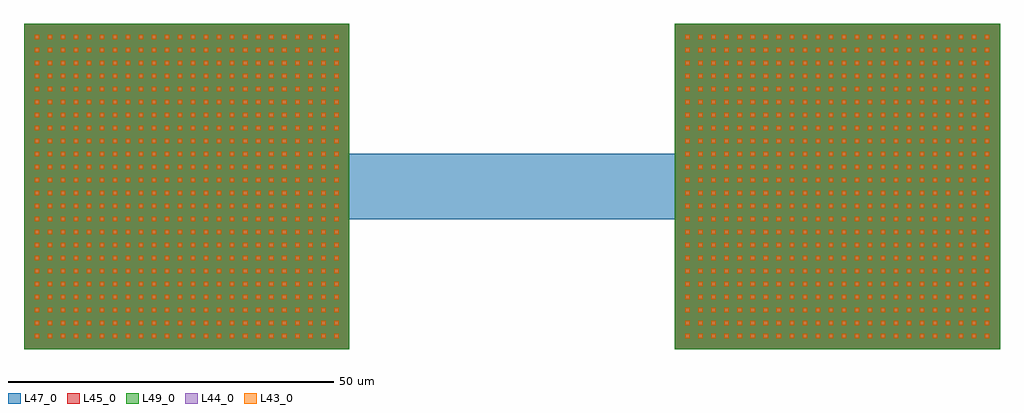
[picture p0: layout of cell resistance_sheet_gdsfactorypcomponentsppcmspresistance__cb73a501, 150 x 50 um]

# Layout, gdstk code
import gdstk
lib = gdstk.Library(unit=1e-6, precision=1e-09)
def R(c, l, rs):  # rectangles x0, y0, x1, y1
    for r in rs: c.add(gdstk.rectangle(r[:2], r[2:], *l))
L43_0 = (43, 0)
L44_0 = (44, 0)
L45_0 = (45, 0)
L47_0 = (47, 0)
L49_0 = (49, 0)

compass_gdsfactorypcompo = lib.new_cell('compass_gdsfactorypcomponentspshapespcompass_S50_50_LHE_0d3d3f5d')
R(compass_gdsfactorypcompo, L47_0, [(-25,-25,25,25)])

c_compass_gdsfactorypcompo = lib.new_cell('compass_gdsfactorypcomponentspshapespcompass_S50_50_LM2_1a56224f')
R(c_compass_gdsfactorypcompo, L45_0, [(-25,-25,25,25)])

c_compass_gdsfactorypcompo_ = lib.new_cell('compass_gdsfactorypcomponentspshapespcompass_S50_50_LM3_7e9c54cf')
R(c_compass_gdsfactorypcompo_, L49_0, [(-25,-25,25,25)])

via_gdsfactorypcomponent = lib.new_cell('via_gdsfactorypcomponentspviaspvia_S0p7_0p7_E1_LVIA1_BL_0068d91e')
R(via_gdsfactorypcomponent, L44_0, [(-0.35,-0.35,0.35,0.35)])

c_via_gdsfactorypcomponent = lib.new_cell('via_gdsfactorypcomponentspviaspvia_S0p7_0p7_E1_LVIA2_BL_c51b5ebb')
R(c_via_gdsfactorypcomponent, L43_0, [(-0.35,-0.35,0.35,0.35)])

via_stack_gdsfactorypcom = lib.new_cell('via_stack_gdsfactorypcomponentspviaspvia_stack_S50_50_L_9a4138d6')
via_stack_gdsfactorypcom.add(gdstk.Reference(compass_gdsfactorypcompo, (0,0)))
via_stack_gdsfactorypcom.add(gdstk.Reference(c_compass_gdsfactorypcompo, (0,0)))
via_stack_gdsfactorypcom.add(gdstk.Reference(c_compass_gdsfactorypcompo_, (0,0)))
r = gdstk.Reference(via_gdsfactorypcomponent, (-23,-23)); r.repetition = gdstk.Repetition(24, 24, v1=(2,0), v2=(0,2)); via_stack_gdsfactorypcom.add(r)
r = gdstk.Reference(c_via_gdsfactorypcomponent, (-23,-23)); r.repetition = gdstk.Repetition(24, 24, v1=(2,0), v2=(0,2)); via_stack_gdsfactorypcom.add(r)

c_compass_gdsfactorypcompo__ = lib.new_cell('compass_gdsfactorypcomponentspshapespcompass_S50_10_LHE_3ed28489')
R(c_compass_gdsfactorypcompo__, L47_0, [(-25,-5,25,5)])

resistance_sheet_gdsfact = lib.new_cell('resistance_sheet_gdsfactorypcomponentsppcmspresistance__cb73a501')
resistance_sheet_gdsfact.add(gdstk.Reference(via_stack_gdsfactorypcom, (-50,0)))
resistance_sheet_gdsfact.add(gdstk.Reference(via_stack_gdsfactorypcom, (50,0)))
resistance_sheet_gdsfact.add(gdstk.Reference(c_compass_gdsfactorypcompo__, (0,0)))

lib.write_gds('resistance_sheet_gdsfactorypcomponentsppcmspresistance__cb73a501.gds')
